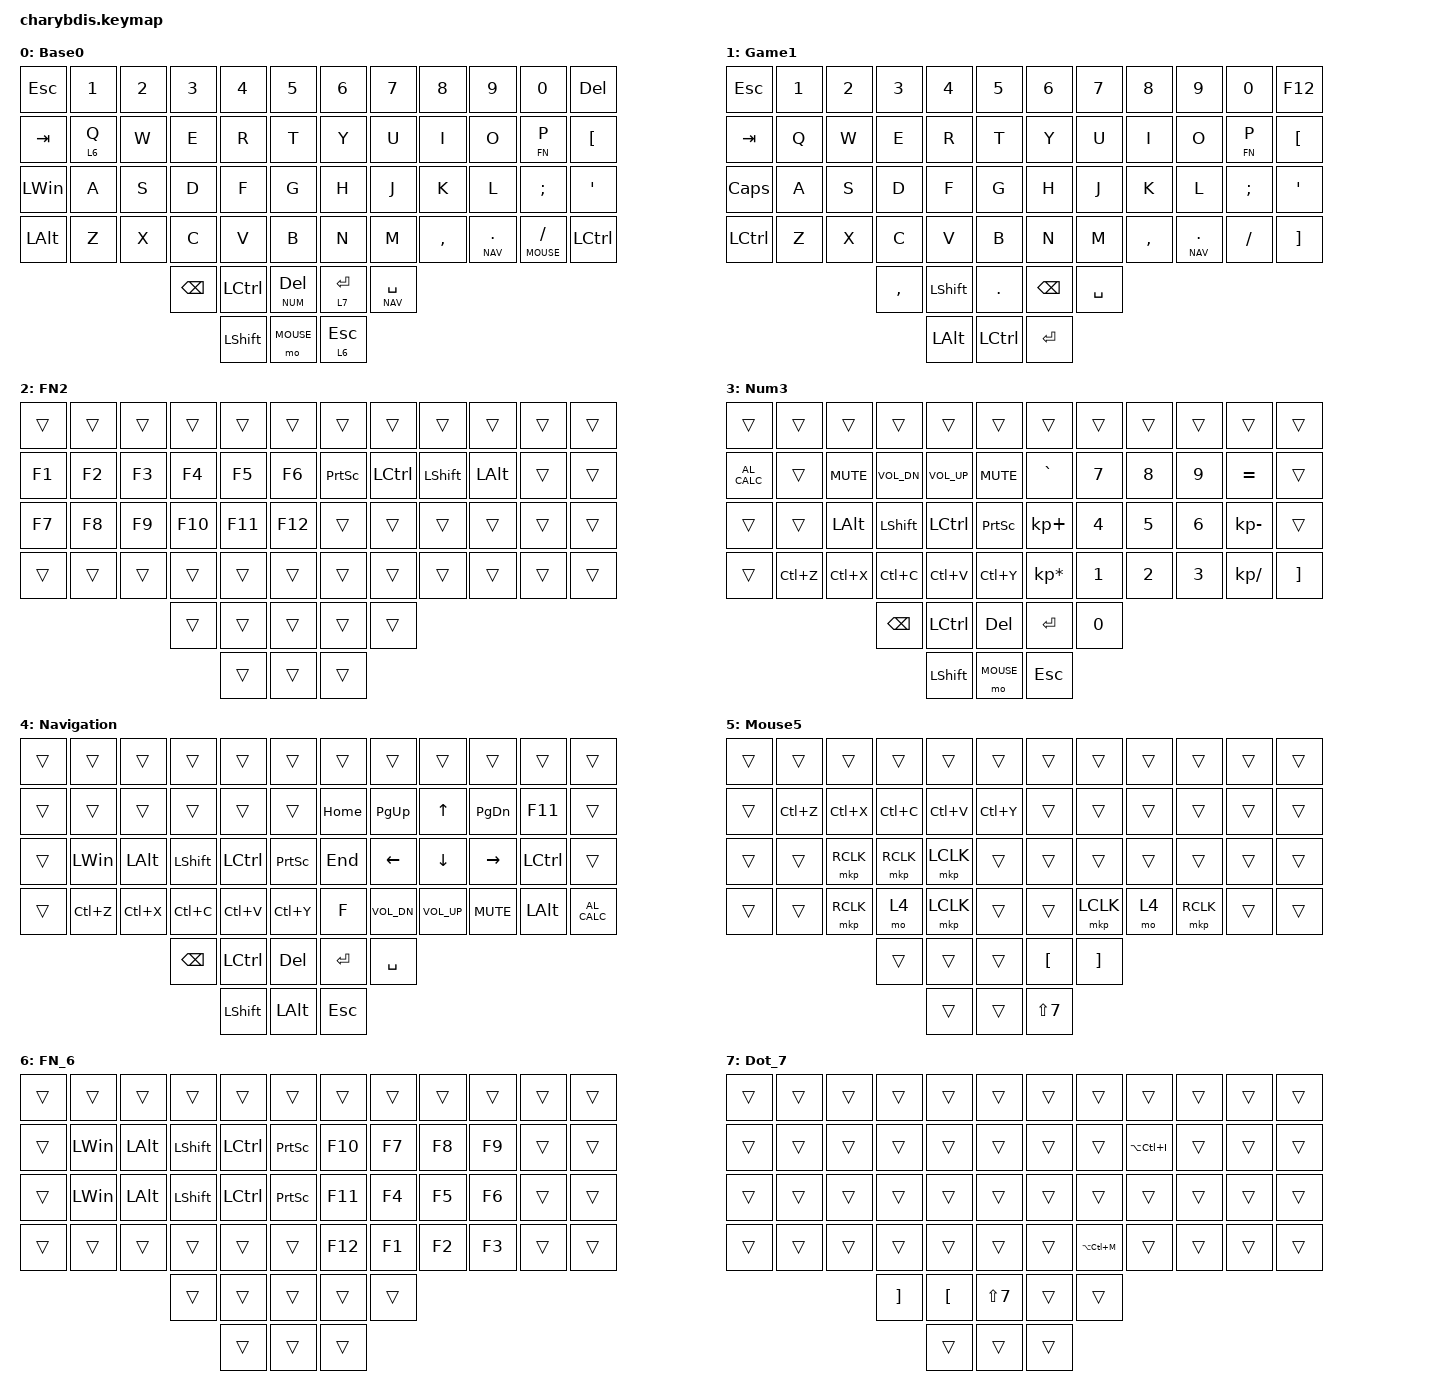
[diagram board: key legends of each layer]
#include <behaviors.dtsi> 
#include <dt-bindings/zmk/keys.h>
#include <dt-bindings/zmk/bt.h>
#include <dt-bindings/zmk/ext_power.h>
#include <dt-bindings/zmk/mouse.h>
#include <dt-bindings/zmk/outputs.h>
#define GAME  1
#define FN    2
#define NUM   3
#define NAV   4
#define MOUSE 5
/ {
    combos {
        compatible = "zmk,combos";

        qote {
            bindings = <&kp GRAVE>;
            key-positions = <16 17>;
        };
        greatt {
            bindings = <&kp LC(LA(P))>;
            key-positions = <18 19>;
        };
        ParaLeft {
            bindings = <&kp LS(N9)>;
            key-positions = <40 41>;
        };
        ParaRight {
            bindings = <&kp LS(N0)>;
            key-positions = <42 43>;
        };
        eng {
            bindings = <&kp F16>;
            key-positions = <28 29>;
        };
        rus {
            bindings = <&kp F17>;
            key-positions = <30 31>;
        };

        bootloaderLeft {
            bindings = <&bootloader>;
            key-positions = <0 13>;
        };
        bootloaderRight {
            bindings = <&bootloader>;
            key-positions = <11 22>;
        };
        resetLeft {
            bindings = <&sys_reset>;
            key-positions = <0 12>;
        };
        resetRight {
            bindings = <&sys_reset>;
            key-positions = <11 23>;
        };
        micelay {
            bindings = <&tog 5>;
            key-positions = <46 47>;
        };
        ScrollToggle {
            bindings = <&tog 4>;
            key-positions = <45 46>;
        };
        NumTog {
            bindings = <&tog 3>;
            key-positions = <21 22>;
        };
        gomouse {
            bindings = <&tog 5>;
            key-positions = <51 55>;
        };
    };

    trackball_listener {
        compatible = "zmk,input-behavior-listener";
        device = <&vtrackball>;
        layers = <0 1 3 5>;
        evt-type = <INPUT_EV_REL>;
        x-input-code = <INPUT_REL_X>;
        y-input-code = <INPUT_REL_Y>;
        scale-multiplier = <1>;
        scale-divisor = <1>;
        rotate-deg = <30>;
    }; 
        trackball_scroll_listener {
        compatible = "zmk,input-behavior-listener";
        device = <&vtrackball>;
        layers = <4>;
        evt-type = <INPUT_EV_REL>;      
        //x-input-code = <INPUT_REL_HWHEEL>;
        x-input-code = <INPUT_REL_MISC>;
        y-input-code = <INPUT_REL_WHEEL>;
        y-invert;
        //rotate-deg = <30>; not work with "y-inv"
        bindings = <&ib_wheel_scaler 1 16>;
    };
        trackball2_scroll_listener {
        compatible = "zmk,input-behavior-listener";
        device = <&vtrackball>;
        layers = <2>;
        evt-type = <INPUT_EV_REL>;      
        x-input-code = <INPUT_REL_HWHEEL>;
        //x-input-code = <INPUT_REL_MISC>;
        y-input-code = <INPUT_REL_MISC>;
        scale-divisor = <4>;
        //rotate-deg = <30>;
        bindings = <&ib_wheel_scaler 1 16>;
    };


    ib_wheel_scaler: ib_wheel_scaler {
        compatible = "zmk,input-behavior-scaler";
        #binding-cells = <2>;
        evt-type = <INPUT_EV_REL>;
        input-code = <INPUT_REL_WHEEL>;
    };
 
    ib_toggle_layer: ib_toggle_layer {
        compatible = "zmk,input-behavior-tog-layer";
        #binding-cells = <1>;
        time-to-live-ms = <500>;
    };

    behaviors {
        lt: layer_tap {
            compatible = "zmk,behavior-hold-tap";
            #binding-cells = <2>;
            flavor = "balanced";
            tapping-term-ms = <240>;
            quick-tap-ms = <150>;
            bindings = 
                <&mo>,
                <&kp>;
        };
    };

    keymap {
        compatible = "zmk,keymap";

        Base_0 {
            label = "Base0";
            bindings = <
            // ╭─────────────┬─────────────┬─────────────┬─────────────┬─────────────┬─────────────╮Bse╭─────────────┬─────────────┬─────────────┬─────────────┬─────────────┬─────────────╮
                   &kp ESC        &kp N1        &kp N2        &kp N3        &kp N4        &kp N5            &kp N6        &kp N7        &kp N8        &kp N9        &kp N0        &kp DEL
            // ├─────────────┼─────────────┼─────────────┼─────────────┼─────────────┼─────────────┤ 0 ├─────────────┼─────────────┼─────────────┼─────────────┼─────────────┼─────────────┤
                   &kp TAB       &lt 6 Q        &kp W         &kp E         &kp R         &kp T             &kp Y         &kp U         &kp I         &kp O        &lt FN P      &kp LBKT
            // ├─────────────┼─────────────┼─────────────┼─────────────┼─────────────┼─────────────┤   ├─────────────┼─────────────┼─────────────┼─────────────┼─────────────┼─────────────┤
                   &kp LWIN       &kp A         &kp S         &kp D         &kp F         &kp G             &kp H         &kp J         &kp K         &kp L        &kp SEMI      &kp APOS
            // ├─────────────┼─────────────┼─────────────┼─────────────┼─────────────┼─────────────┤   ├─────────────┼─────────────┼─────────────┼─────────────┼─────────────┼─────────────┤
                   &kp LALT       &kp Z         &kp X         &kp C         &kp V         &kp B             &kp N         &kp M       &kp COMMA    &lt NAV DOT  &lt MOUSE FSLH   &kp LCTRL  
            // ╰─────────────┴─────────────┴─────────────┼─────────────┼─────────────┼─────────────┤   ├─────────────┼─────────────┼─────────────┴─────────────┴─────────────┴─────────────╯
                                                             &kp BSPC     &kp LCTRL    &lt NUM DEL        &lt 7 RET   &lt NAV SPACE
            //                                           ╰─────────────┼─────────────┼─────────────┤ 0 ├─────────────┼─────────────╯
                                                                          &kp LSHFT     &mo MOUSE         &lt 6 ESC
            //                                                         ╰─────────────┴─────────────╯Bse╰─────────────╯
            >;
        };

        Game_1 {
            label = "Game1";
            bindings = <
            // ╭─────────────┬─────────────┬─────────────┬─────────────┬─────────────┬─────────────╮Gam╭─────────────┬─────────────┬─────────────┬─────────────┬─────────────┬─────────────╮
                   &kp ESC        &kp N1        &kp N2        &kp N3        &kp N4        &kp N5            &kp N6        &kp N7        &kp N8        &kp N9        &kp N0       &kp F12
            // ├─────────────┼─────────────┼─────────────┼─────────────┼─────────────┼─────────────┤ 1 ├─────────────┼─────────────┼─────────────┼─────────────┼─────────────┼─────────────┤
                   &kp TAB        &kp Q         &kp W         &kp E         &kp R         &kp T             &kp Y         &kp U         &kp I         &kp O        &lt FN P      &kp LBKT
            // ├─────────────┼─────────────┼─────────────┼─────────────┼─────────────┼─────────────┤   ├─────────────┼─────────────┼─────────────┼─────────────┼─────────────┼─────────────┤
                   &kp CAPS       &kp A         &kp S         &kp D         &kp F         &kp G             &kp H         &kp J         &kp K         &kp L        &kp SEMI      &kp APOS
            // ├─────────────┼─────────────┼─────────────┼─────────────┼─────────────┼─────────────┤   ├─────────────┼─────────────┼─────────────┼─────────────┼─────────────┼─────────────┤
                  &kp LCTRL       &kp Z         &kp X         &kp C         &kp V         &kp B             &kp N         &kp M       &kp COMMA    &lt NAV DOT     &kp FSLH      &kp RBKT
            // ╰─────────────┴─────────────┴─────────────┼─────────────┼─────────────┼─────────────┤   ├─────────────┼─────────────┼─────────────┴─────────────┴─────────────┴─────────────╯
                                                            &kp COMMA     &kp LSHFT      &kp DOT           &kp BSPC     &kp SPACE
            //                                           ╰─────────────┼─────────────┼─────────────┤ 1 ├─────────────┼─────────────╯
                                                                           &kp LALT     &kp LCTRL          &kp RET         
            //                                                         ╰─────────────┴─────────────╯Gam╰─────────────╯
            >;
        };

        FN_2 {
            label = "FN2";
            bindings = <
            // ╭─────────────┬─────────────┬─────────────┬─────────────┬─────────────┬─────────────╮FFN╭─────────────┬─────────────┬─────────────┬─────────────┬─────────────┬─────────────╮
                    &trans        &trans        &trans        &trans        &trans        &trans            &trans        &trans        &trans        &trans        &trans        &trans
            // ├─────────────┼─────────────┼─────────────┼─────────────┼─────────────┼─────────────┤ 2 ├─────────────┼─────────────┼─────────────┼─────────────┼─────────────┼─────────────┤
                    &kp F1        &kp F2        &kp F3        &kp F4        &kp F5        &kp F6          &kp PSCRN     &kp LCTRL     &kp LSHFT      &kp LALT       &trans        &trans
            // ├─────────────┼─────────────┼─────────────┼─────────────┼─────────────┼─────────────┤   ├─────────────┼─────────────┼─────────────┼─────────────┼─────────────┼─────────────┤
                    &kp F7        &kp F8        &kp F9       &kp F10       &kp F11       &kp F12            &trans        &trans        &trans        &trans        &trans        &trans
            // ├─────────────┼─────────────┼─────────────┼─────────────┼─────────────┼─────────────┤ 2 ├─────────────┼─────────────┼─────────────┼─────────────┼─────────────┼─────────────┤
                    &trans        &trans        &trans        &trans        &trans        &trans            &trans        &trans        &trans        &trans        &trans        &trans
            // ╰─────────────┴─────────────┴─────────────┼─────────────┼─────────────┼─────────────┤   ├─────────────┼─────────────┼─────────────┴─────────────┴─────────────┴─────────────╯
                                                              &trans        &trans        &trans            &trans        &trans    
            //                                           ╰─────────────┼─────────────┼─────────────┤ 2 ├─────────────┼─────────────╯
                                                                            &trans        &trans            &trans
            //                                                         ╰─────────────┴─────────────╯FFN╰─────────────╯
            >;
        };

        Num_3 {
            label = "Num3";
            bindings = <
            // ╭─────────────┬─────────────┬─────────────┬─────────────┬─────────────┬─────────────╮Num╭─────────────┬─────────────┬─────────────┬─────────────┬─────────────┬─────────────╮
                    &trans        &trans        &trans        &trans        &trans        &trans            &trans        &trans        &trans        &trans        &trans        &trans
            // ├─────────────┼─────────────┼─────────────┼─────────────┼─────────────┼─────────────┤ 3 ├─────────────┼─────────────┼─────────────┼─────────────┼─────────────┼─────────────┤
                &kp C_AL_CALC     &trans      &kp C_MUTE   &kp C_VOL_DN  &kp C_VOL_UP   &kp C_MUTE        &kp GRAVE       &kp N7        &kp N8        &kp N9      &kp EQUAL       &trans
            // ├─────────────┼─────────────┼─────────────┼─────────────┼─────────────┼─────────────┤ 3 ├─────────────┼─────────────┼─────────────┼─────────────┼─────────────┼─────────────┤
                    &trans        &trans       &kp LALT     &kp LSHFT     &kp LCTRL     &kp PSCRN        &kp KP_PLUS      &kp N4        &kp N5        &kp N6    &kp KP_MINUS      &trans
            // ├─────────────┼─────────────┼─────────────┼─────────────┼─────────────┼─────────────┤ 3 ├─────────────┼─────────────┼─────────────┼─────────────┼─────────────┼─────────────┤
                    &trans      &kp LC(Z)     &kp LC(X)     &kp LC(C)     &kp LC(V)     &kp LC(Y)      &kp KP_MULTIPLY    &kp N1        &kp N2        &kp N3    &kp KP_SLASH     &kp RBKT
            // ╰─────────────┴─────────────┴─────────────┼─────────────┼─────────────┼─────────────┤ 3 ├─────────────┼─────────────┼─────────────┴─────────────┴─────────────┴─────────────╯
                                                             &kp BSPC     &kp LCTRL      &kp DEL           &kp RET       &kp N0
            //                                           ╰─────────────┼─────────────┼─────────────┤ 3 ├─────────────┼─────────────╯
                                                                          &kp LSHFT     &mo MOUSE          &kp ESC
            //                                                         ╰─────────────┴─────────────╯Num╰─────────────╯
            >;
        };

        Navigation_4 {
            label = "Navigation";
            bindings = <
            // ╭─────────────┬─────────────┬─────────────┬─────────────┬─────────────┬─────────────╮Nav╭─────────────┬─────────────┬─────────────┬─────────────┬─────────────┬─────────────╮
                    &trans        &trans        &trans        &trans        &trans        &trans            &trans        &trans        &trans        &trans        &trans        &trans
            // ├─────────────┼─────────────┼─────────────┼─────────────┼─────────────┼─────────────┤ 4 ├─────────────┼─────────────┼─────────────┼─────────────┼─────────────┼─────────────┤
                    &trans        &trans        &trans        &trans        &trans        &trans           &kp HOME      &kp PG_UP      &kp UP      &kp PG_DN      &kp F11        &trans   
            // ├─────────────┼─────────────┼─────────────┼─────────────┼─────────────┼─────────────┤Scr├─────────────┼─────────────┼─────────────┼─────────────┼─────────────┼─────────────┤
                    &trans       &kp LWIN     &kp LALT      &kp LSHFT     &kp LCTRL     &kp PSCRN          &kp END       &kp LEFT      &kp DOWN     &kp RIGHT     &kp LCTRL       &trans  
            // ├─────────────┼─────────────┼─────────────┼─────────────┼─────────────┼─────────────┤ 4 ├─────────────┼─────────────┼─────────────┼─────────────┼─────────────┼─────────────┤
                    &trans      &kp LC(Z)     &kp LC(X)     &kp LC(C)     &kp LC(V)     &kp LC(Y)          &kp F      &kp C_VOL_DN  &kp C_VOL_UP   &kp C_MUTE      &kp LALT   &kp C_AL_CALC
            // ╰─────────────┴─────────────┴─────────────┼─────────────┼─────────────┼─────────────┤Scr├─────────────┼─────────────┼─────────────┴─────────────┴─────────────┴─────────────╯
                                                             &kp BSPC     &kp LCTRL      &kp DEL           &kp RET      &kp SPACE 
            //                                           ╰─────────────┼─────────────┼─────────────┤ 4 ├─────────────┼─────────────╯
                                                                          &kp LSHFT      &kp LALT          &kp ESC   
            //                                                         ╰─────────────┴─────────────╯Nav╰─────────────╯
            >;
        };

        Mouse_5 {
            label = "Mouse5";
            bindings = <
            // ╭─────────────┬─────────────┬─────────────┬─────────────┬─────────────┬─────────────╮Mse╭─────────────┬─────────────┬─────────────┬─────────────┬─────────────┬─────────────╮
                    &trans        &trans        &trans        &trans        &trans        &trans            &trans        &trans        &trans        &trans        &trans        &trans
            // ├─────────────┼─────────────┼─────────────┼─────────────┼─────────────┼─────────────┤ 5 ├─────────────┼─────────────┼─────────────┼─────────────┼─────────────┼─────────────┤
                    &trans      &kp LC(Z)     &kp LC(X)     &kp LC(C)     &kp LC(V)     &kp LC(Y)           &trans        &trans        &trans        &trans        &trans        &trans
            // ├─────────────┼─────────────┼─────────────┼─────────────┼─────────────┼─────────────┤ 5 ├─────────────┼─────────────┼─────────────┼─────────────┼─────────────┼─────────────┤
                    &trans        &trans      &mkp RCLK     &mkp RCLK     &mkp LCLK       &trans            &trans        &trans        &trans        &trans        &trans        &trans
            // ├─────────────┼─────────────┼─────────────┼─────────────┼─────────────┼─────────────┤ 5 ├─────────────┼─────────────┼─────────────┼─────────────┼─────────────┼─────────────┤
                    &trans        &trans      &mkp RCLK       &mo 4       &mkp LCLK       &trans            &trans      &mkp LCLK       &mo 4       &mkp RCLK       &trans        &trans
            // ╰─────────────┴─────────────┴─────────────┼─────────────┼─────────────┼─────────────┤ 5 ├─────────────┼─────────────┼─────────────┴─────────────┴─────────────┴─────────────╯
                                                              &trans        &trans        &trans           &kp LBKT      &kp RBKT   
            //                                           ╰─────────────┼─────────────┼─────────────┤ 5 ├─────────────┼─────────────╯
                                                                            &trans        &trans          &kp LS(N7)    
            //                                                         ╰─────────────┴─────────────╯Mse╰─────────────╯
            >;
        };

        FN_6 {
            label = "FN_6";
            bindings = <
            // ╭─────────────┬─────────────┬─────────────┬─────────────┬─────────────┬─────────────╮FN6╭─────────────┬─────────────┬─────────────┬─────────────┬─────────────┬─────────────╮
                    &trans        &trans        &trans        &trans        &trans        &trans            &trans        &trans        &trans        &trans        &trans        &trans
            // ├─────────────┼─────────────┼─────────────┼─────────────┼─────────────┼─────────────┤ 6 ├─────────────┼─────────────┼─────────────┼─────────────┼─────────────┼─────────────┤
                    &trans       &kp LWIN     &kp LALT      &kp LSHFT     &kp LCTRL     &kp PSCRN          &kp F10        &kp F7        &kp F8        &kp F9        &trans        &trans
            // ├─────────────┼─────────────┼─────────────┼─────────────┼─────────────┼─────────────┤ 6 ├─────────────┼─────────────┼─────────────┼─────────────┼─────────────┼─────────────┤
                    &trans       &kp LWIN     &kp LALT      &kp LSHFT     &kp LCTRL     &kp PSCRN          &kp F11        &kp F4        &kp F5        &kp F6        &trans        &trans
            // ├─────────────┼─────────────┼─────────────┼─────────────┼─────────────┼─────────────┤ 6 ├─────────────┼─────────────┼─────────────┼─────────────┼─────────────┼─────────────┤
                    &trans        &trans        &trans        &trans        &trans        &trans           &kp F12        &kp F1        &kp F2        &kp F3        &trans        &trans
            // ╰─────────────┴─────────────┴─────────────┼─────────────┼─────────────┼─────────────┤ 6 ├─────────────┼─────────────┼─────────────┴─────────────┴─────────────┴─────────────╯
                                                              &trans        &trans        &trans            &trans        &trans
            //                                           ╰─────────────┼─────────────┼─────────────┤ 6 ├─────────────┼─────────────╯
                                                                            &trans        &trans            &trans
            //                                                         ╰─────────────┴─────────────╯FN6╰─────────────╯
            >;
        };

        Dot_7 {
            label = "Dot_7";
            bindings = <
            // ╭─────────────┬─────────────┬─────────────┬─────────────┬─────────────┬─────────────╮Dot╭─────────────┬─────────────┬─────────────┬─────────────┬─────────────┬─────────────╮
                    &trans        &trans        &trans        &trans        &trans        &trans            &trans        &trans        &trans        &trans        &trans        &trans
            // ├─────────────┼─────────────┼─────────────┼─────────────┼─────────────┼─────────────┤ 7 ├─────────────┼─────────────┼─────────────┼─────────────┼─────────────┼─────────────┤
                    &trans        &trans        &trans        &trans        &trans        &trans            &trans        &trans    &kp LA(LC(I))     &trans        &trans        &trans   
            // ├─────────────┼─────────────┼─────────────┼─────────────┼─────────────┼─────────────┤ 7 ├─────────────┼─────────────┼─────────────┼─────────────┼─────────────┼─────────────┤
                    &trans        &trans        &trans        &trans        &trans        &trans            &trans        &trans        &trans        &trans        &trans        &trans   
            // ├─────────────┼─────────────┼─────────────┼─────────────┼─────────────┼─────────────┤ 7 ├─────────────┼─────────────┼─────────────┼─────────────┼─────────────┼─────────────┤
                    &trans        &trans        &trans        &trans        &trans        &trans            &trans    &kp LA(LC(M))     &trans        &trans        &trans        &trans   
            // ╰─────────────┴─────────────┴─────────────┼─────────────┼─────────────┼─────────────┤ 7 ├─────────────┼─────────────┼─────────────┴─────────────┴─────────────┴─────────────╯
                                                             &kp RBKT      &kp LBKT     &kp LS(N7)          &trans        &trans
            //                                           ╰─────────────┼─────────────┼─────────────┤ 7 ├─────────────┼─────────────╯
                                                                            &trans        &trans            &trans
            //                                                         ╰─────────────┴─────────────╯Dot╰─────────────╯
            >;
        };
    };
};
